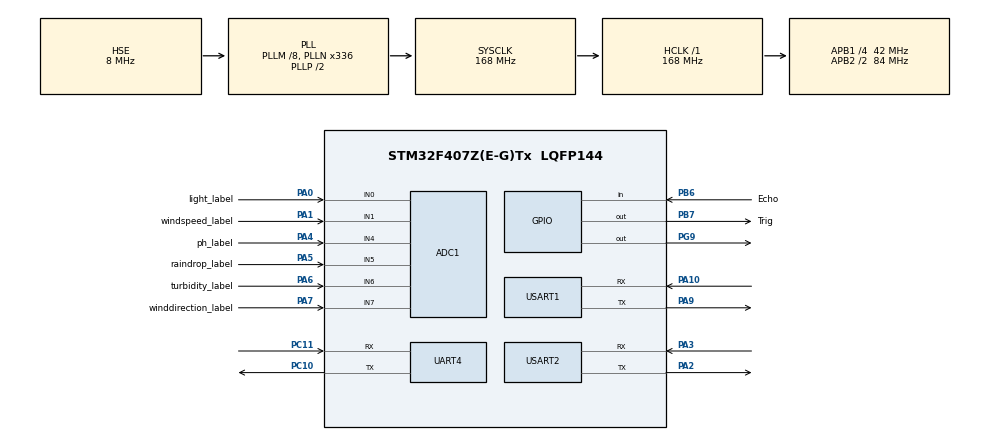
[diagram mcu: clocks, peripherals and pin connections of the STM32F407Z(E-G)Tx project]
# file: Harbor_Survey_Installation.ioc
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ADC1.Channel-0\#ChannelRegularConversion=ADC_CHANNEL_0
ADC1.Channel-1\#ChannelRegularConversion=ADC_CHANNEL_1
ADC1.Channel-2\#ChannelRegularConversion=ADC_CHANNEL_7
ADC1.Channel-3\#ChannelRegularConversion=ADC_CHANNEL_6
ADC1.Channel-4\#ChannelRegularConversion=ADC_CHANNEL_4
ADC1.Channel-5\#ChannelRegularConversion=ADC_CHANNEL_5
ADC1.ContinuousConvMode=ENABLE
ADC1.DMAContinuousRequests=ENABLE
ADC1.EOCSelection=ADC_EOC_SEQ_CONV
ADC1.NbrOfConversion=6
ADC1.NbrOfConversionFlag=1
ADC1.Rank-0\#ChannelRegularConversion=1
ADC1.Rank-1\#ChannelRegularConversion=2
ADC1.Rank-2\#ChannelRegularConversion=3
ADC1.Rank-3\#ChannelRegularConversion=4
ADC1.Rank-4\#ChannelRegularConversion=5
ADC1.Rank-5\#ChannelRegularConversion=6
ADC1.SamplingTime-0\#ChannelRegularConversion=ADC_SAMPLETIME_3CYCLES
ADC1.SamplingTime-1\#ChannelRegularConversion=ADC_SAMPLETIME_3CYCLES
ADC1.SamplingTime-2\#ChannelRegularConversion=ADC_SAMPLETIME_3CYCLES
ADC1.SamplingTime-3\#ChannelRegularConversion=ADC_SAMPLETIME_3CYCLES
ADC1.SamplingTime-4\#ChannelRegularConversion=ADC_SAMPLETIME_3CYCLES
ADC1.SamplingTime-5\#ChannelRegularConversion=ADC_SAMPLETIME_3CYCLES
ADC1.ScanConvMode=ENABLE
ADC1.master=1
Dma.ADC1.0.Direction=DMA_PERIPH_TO_MEMORY
Dma.ADC1.0.FIFOMode=DMA_FIFOMODE_DISABLE
Dma.ADC1.0.Instance=DMA2_Stream0
Dma.ADC1.0.MemDataAlignment=DMA_MDATAALIGN_HALFWORD
Dma.ADC1.0.MemInc=DMA_MINC_ENABLE
Dma.ADC1.0.Mode=DMA_CIRCULAR
Dma.ADC1.0.PeriphDataAlignment=DMA_PDATAALIGN_HALFWORD
Dma.ADC1.0.PeriphInc=DMA_PINC_DISABLE
Dma.ADC1.0.Priority=DMA_PRIORITY_LOW
Dma.Request0=ADC1
Dma.Request1=UART4_RX
Dma.Request2=USART2_RX
Dma.UART4_RX.1.Direction=DMA_PERIPH_TO_MEMORY
Dma.UART4_RX.1.FIFOMode=DMA_FIFOMODE_DISABLE
Dma.UART4_RX.1.Instance=DMA1_Stream2
Dma.UART4_RX.1.MemDataAlignment=DMA_MDATAALIGN_BYTE
Dma.UART4_RX.1.MemInc=DMA_MINC_ENABLE
Dma.UART4_RX.1.Mode=DMA_CIRCULAR
Dma.UART4_RX.1.PeriphDataAlignment=DMA_PDATAALIGN_BYTE
Dma.UART4_RX.1.PeriphInc=DMA_PINC_DISABLE
Dma.UART4_RX.1.Priority=DMA_PRIORITY_LOW
Dma.USART2_RX.2.Direction=DMA_PERIPH_TO_MEMORY
Dma.USART2_RX.2.FIFOMode=DMA_FIFOMODE_DISABLE
Dma.USART2_RX.2.Instance=DMA1_Stream5
Dma.USART2_RX.2.MemDataAlignment=DMA_MDATAALIGN_BYTE
Dma.USART2_RX.2.MemInc=DMA_MINC_ENABLE
Dma.USART2_RX.2.Mode=DMA_CIRCULAR
Dma.USART2_RX.2.PeriphDataAlignment=DMA_PDATAALIGN_BYTE
Dma.USART2_RX.2.PeriphInc=DMA_PINC_DISABLE
Dma.USART2_RX.2.Priority=DMA_PRIORITY_LOW
Mcu.Family=STM32F4
Mcu.Name=STM32F407Z(E-G)Tx
Mcu.Package=LQFP144
NVIC.DMA1_Stream2_IRQn=true\:0\:0\:false\:false\:true\:false\:true\:true
NVIC.DMA1_Stream5_IRQn=true\:0\:0\:false\:false\:true\:false\:true\:true
NVIC.DMA2_Stream0_IRQn=true\:3\:0\:true\:false\:true\:false\:true\:true
NVIC.PriorityGroup=NVIC_PRIORITYGROUP_2
NVIC.USART2_IRQn=true\:0\:0\:true\:true\:true\:1\:true\:true\:true
PA0-WKUP.GPIO_Label=light_label
PA0-WKUP.Signal=ADCx_IN0
PA1.GPIO_Label=windspeed_label
PA1.Signal=ADCx_IN1
PA10.Mode=Asynchronous
PA10.Signal=USART1_RX
PA13.Mode=Serial_Wire
PA13.Signal=SYS_JTMS-SWDIO
PA14.Mode=Serial_Wire
PA14.Signal=SYS_JTCK-SWCLK
PA2.GPIO_Speed=GPIO_SPEED_FREQ_HIGH
PA2.Mode=Asynchronous
PA2.Signal=USART2_TX
PA3.GPIO_PuPd=GPIO_PULLUP
PA3.GPIO_Speed=GPIO_SPEED_FREQ_HIGH
PA3.Mode=Asynchronous
PA3.Signal=USART2_RX
PA4.GPIO_Label=ph_label
PA4.Signal=ADCx_IN4
PA5.GPIO_Label=raindrop_label
PA5.Signal=ADCx_IN5
PA6.GPIO_Label=turbidity_label
PA6.Signal=ADCx_IN6
PA7.GPIO_Label=winddirection_label
PA7.Signal=ADCx_IN7
PA9.Mode=Asynchronous
PA9.Signal=USART1_TX
PB6.GPIO_Label=Echo
PB6.Signal=GPIO_Input
PB7.GPIO_Label=Trig
PB7.GPIO_PuPd=GPIO_PULLDOWN
PB7.GPIO_Speed=GPIO_SPEED_FREQ_HIGH
PB7.Signal=GPIO_Output
PC10.Mode=Asynchronous
PC10.Signal=UART4_TX
PC11.Mode=Asynchronous
PC11.Signal=UART4_RX
PG9.Signal=GPIO_Output
PH0-OSC_IN.Mode=HSE-External-Oscillator
PH0-OSC_IN.Signal=RCC_OSC_IN
PH1-OSC_OUT.Mode=HSE-External-Oscillator
PH1-OSC_OUT.Signal=RCC_OSC_OUT
ProjectManager.HeapSize=0xC00
ProjectManager.StackSize=0x400
ProjectManager.TargetToolchain=MDK-ARM V5
RCC.48MHZClocksFreq_Value=84000000
RCC.AHBFreq_Value=168000000
RCC.APB1CLKDivider=RCC_HCLK_DIV4
RCC.APB1Freq_Value=42000000
RCC.APB1TimFreq_Value=84000000
RCC.APB2CLKDivider=RCC_HCLK_DIV2
RCC.APB2Freq_Value=84000000
RCC.APB2TimFreq_Value=168000000
RCC.CortexFreq_Value=168000000
RCC.HCLKFreq_Value=168000000
RCC.HSE_VALUE=8000000
RCC.HSI_VALUE=16000000
RCC.PLLM=8
RCC.PLLN=336
RCC.PLLSourceVirtual=RCC_PLLSOURCE_HSE
RCC.SYSCLKFreq_VALUE=168000000
RCC.SYSCLKSource=RCC_SYSCLKSOURCE_PLLCLK
RCC.VCOOutputFreq_Value=336000000
SH.ADCx_IN0.0=ADC1_IN0,IN0
SH.ADCx_IN1.0=ADC1_IN1,IN1
SH.ADCx_IN4.0=ADC1_IN4,IN4
SH.ADCx_IN5.0=ADC1_IN5,IN5
SH.ADCx_IN6.0=ADC1_IN6,IN6
SH.ADCx_IN7.0=ADC1_IN7,IN7
TIM6.AutoReloadPreload=TIM_AUTORELOAD_PRELOAD_ENABLE
TIM6.Prescaler=83
UART4.VirtualMode=Asynchronous
USART1.VirtualMode=VM_ASYNC
USART2.VirtualMode=VM_ASYNC
VP_TIM6_VS_ClockSourceINT.Mode=Enable_Timer
board=custom

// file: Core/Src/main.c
/* USER CODE BEGIN Header */
/**
  ******************************************************************************
  * @file           : main.c
  * @brief          : Main program body
  ******************************************************************************
  * @attention
  *
  * Copyright (c) 2023 STMicroelectronics.
  * All rights reserved.
  *
  * This software is licensed under terms that can be found in the LICENSE file
  * in the root directory of this software component.
  * If no LICENSE file comes with this software, it is provided AS-IS.
  *
  ******************************************************************************
  */
/* USER CODE END Header */
#include "main.h"
#include "adc.h"
#include "dma.h"
#include "tim.h"
#include "usart.h"
#include "gpio.h"

/* USER CODE BEGIN Includes */
#include "dht11.h"
#include "string.h"
#include "stdio.h"
#include "sys.h"
#include "delay.h"
#include "jy61p.h"
#include "ec20.h"
/* USER CODE END Includes */

/* USER CODE BEGIN PTD */
 uint8_t temperature;  // 温度
 uint8_t humidity;   // 湿度
 uint16_t Adc_buffer[6]; // ADC采集数据缓存
/*
    数组数据
    Adc_buffer[0]  --  XXX传感器
    Adc_buffer[1]  --  风速传感器
    Adc_buffer[2]  --  风向传感器
    Adc_buffer[3]  --  浊度传感器
    Adc_buffer[4]  --  ph传感器
    Adc_buffer[5]  --  雨滴传感器
*/

// 姿态校准命令
char YAWCMD1[3] = {0XFF,0XAA,0X52};
char ACCCMD1[3] = {0XFF,0XAA,0X67};
extern AttitudeSensor_TypeDef JY61;
/* USER CODE END PTD */

/* USER CODE BEGIN PM */

float wind_direction_check(float winddirection);  // 风向检测
void ADC_Process_Function(void);  // ADC数据处理函数
float turbidity_check(float turbidity);  // 浊度检测
float PH_check(float PH);  // PH值检测
float raindrop_check(float raindrop);  // 降雨强度检测
void JY61P_Output(void);  // JY61P数据输出
void HCSR04_Detect(void);
uint8_t data_len,datastr[10],send_jason[200];
/* USER CODE END PM */

void SystemClock_Config(void);
static void MX_NVIC_Init(void);

int main(void)
{

  /* MCU Configuration--------------------------------------------------------*/

  /* Reset of all peripherals, Initializes the Flash interface and the Systick. */
  HAL_Init();

  /* Configure the system clock */
  SystemClock_Config();

  /* Initialize all configured peripherals */
  MX_GPIO_Init();
  MX_DMA_Init();
  MX_ADC1_Init();
  MX_UART4_Init();
  MX_USART1_UART_Init();
  MX_USART2_UART_Init();
  MX_TIM6_Init();

  /* Initialize interrupts */
  MX_NVIC_Init();
  /* USER CODE BEGIN 2 */
    delay_init(168);  // 初始化延时函数
    // while(dht11_init())  // 初始化DHT11
    // {
    //     printf("DHT11 init failed!\r\n");
    //     HAL_Delay(1000);
    // }
    sendcmd(ACCCMD1);				// 等待JY61初始化完成
    delay_ms(300);
    sendcmd(YAWCMD1);
    delay_ms(300);
    HAL_ADC_Start_DMA(&hadc1,(uint32_t *)Adc_buffer,6);                 // 启动ADC DMA传输
    HAL_UART_Receive_IT(&huart1, (uint8_t *)&USART1_SingleByte, 1);     // 串口1中断接收
    __HAL_UART_ENABLE_IT(&huart2, UART_IT_IDLE);                        // 串口2使能空闲中断
    HAL_UART_Receive_DMA(&huart2, USART2_RX_BUF, USART2_MAX_RECV_LEN);  // 串口2中断接收  DMA
    HAL_UART_Receive_DMA(&huart4, (uint8_t *)UART4_RX_BUF, 33);         // 串口4中断接收  DMA
    while(EC20_init_check(0) != 0x0F);  // EC20初始化检测

  /* USER CODE END 2 */

  /* Infinite loop */
  /* USER CODE BEGIN WHILE */
    while (1)
    {
        dht11_read_data(&temperature, &humidity);                                 // 读取温湿度
        printf1("temperature: %d, humidity: %d\r\n", temperature, humidity);    // 打印温湿度
        ADC_Process_Function();   // ADC数据处理函数
        JY61P_Output();     // JY61P输出
        HCSR04_Detect();    // 超声波检测
        GPS_Analysis();     // GPS数据解析
        Mqtt_Senddata();    // MQTT发送数据                                                                                                                          // 串口3中断接收
        HAL_UART_RxCpltCallback(&huart4);
        HAL_Delay(1000);          // 延时1s
    /* USER CODE END WHILE */

  }
}

void SystemClock_Config(void)
{
  RCC_OscInitTypeDef RCC_OscInitStruct = {0};
  RCC_ClkInitTypeDef RCC_ClkInitStruct = {0};

  /** Configure the main internal regulator output voltage
  */
  __HAL_RCC_PWR_CLK_ENABLE();
  __HAL_PWR_VOLTAGESCALING_CONFIG(PWR_REGULATOR_VOLTAGE_SCALE1);

  /** Initializes the RCC Oscillators according to the specified parameters
  * in the RCC_OscInitTypeDef structure.
  */
  RCC_OscInitStruct.OscillatorType = RCC_OSCILLATORTYPE_HSE;
  RCC_OscInitStruct.HSEState = RCC_HSE_ON;
  RCC_OscInitStruct.PLL.PLLState = RCC_PLL_ON;
  RCC_OscInitStruct.PLL.PLLSource = RCC_PLLSOURCE_HSE;
  RCC_OscInitStruct.PLL.PLLM = 8;
  RCC_OscInitStruct.PLL.PLLN = 336;
  RCC_OscInitStruct.PLL.PLLP = RCC_PLLP_DIV2;
  RCC_OscInitStruct.PLL.PLLQ = 4;
  if (HAL_RCC_OscConfig(&RCC_OscInitStruct) != HAL_OK)
  {
    Error_Handler();
  }

  /** Initializes the CPU, AHB and APB buses clocks
  */
  RCC_ClkInitStruct.ClockType = RCC_CLOCKTYPE_HCLK|RCC_CLOCKTYPE_SYSCLK
                              |RCC_CLOCKTYPE_PCLK1|RCC_CLOCKTYPE_PCLK2;
  RCC_ClkInitStruct.SYSCLKSource = RCC_SYSCLKSOURCE_PLLCLK;
  RCC_ClkInitStruct.AHBCLKDivider = RCC_SYSCLK_DIV1;
  RCC_ClkInitStruct.APB1CLKDivider = RCC_HCLK_DIV4;
  RCC_ClkInitStruct.APB2CLKDivider = RCC_HCLK_DIV2;

  if (HAL_RCC_ClockConfig(&RCC_ClkInitStruct, FLASH_LATENCY_5) != HAL_OK)
  {
    Error_Handler();
  }
}

/**
  * @brief NVIC Configuration.
  * @retval None
  */
static void MX_NVIC_Init(void)
{
  /* USART2_IRQn interrupt configuration */
  HAL_NVIC_SetPriority(USART2_IRQn, 0, 0);
  HAL_NVIC_EnableIRQ(USART2_IRQn);
}

/* USER CODE BEGIN 4 */

void HCSR04_Detect(void)  //超声波检测
{
    distance = HCSR04_measure();  //测量距离
    printf1("Distance = %dMM\r\n",distance);   //打印距离
}

void JY61P_Output(void)
{
    static uint8_t updata = 0;
    // char str[40];
    updata++;
    if(updata>151)          // 自动校准时间 = 150 * 发送周期
    {	                    // 等待模块内部自动校准好，模块内部会自动计算需要一定的时间
        updata = 0;
        printf1("正在进行加速度校准\r\n");
        sendcmd(ACCCMD1);
        printf1("加速度校准完成\r\n");
        delay_ms(300);
        printf1("进行Z轴角度清零\r\n");
        sendcmd(YAWCMD1);
        printf1("Z轴角度清零完成\r\n");
        delay_ms(300);
    }
    printf1("-JY61P:");
    printf1("Pitch = %.3f 	",JY61.pitch);
    printf1("Roll = %.3f 	",JY61.roll);
    printf1("Yaw = %.3f 	\r\n",JY61.yaw);
}

/**
  * @brief  ADC数据处理函数
  * @param  None
  * @retval None
  */
void ADC_Process_Function(void)
{
    static float temp = 0;
    printf1("XX传感器: %d\r\n", Adc_buffer[0]);

    printf1("风速传感器: %d     ", Adc_buffer[1]);
    temp = (3.3f * (float)Adc_buffer[1] / 4095.0f) * 1000.0f;  // 电压值
    windspeed = 0.027f * temp;  // 风速值
    printf1("风速值: %f\r\n", windspeed);

    /* 风向传感器 */
    printf1("风向传感器: %d     ", Adc_buffer[2]);
    temp = Adc_buffer[2] * 360 / 2482;  // 角度值
    winddirection = wind_direction_check(temp);  // 风向值
    printf1("风向值: %f\r\n", winddirection);

    /* 浊度传感器 */
    printf1("浊度传感器: %d     ", Adc_buffer[3]);
    temp = (float)Adc_buffer[3] * 3.3f / 4095.0f;  // 电压值
    temp = temp * 100 / 3.3f;  // 浊度值
    turbidity = turbidity_check(temp);  // 浊度值
    printf1("浊度值: %f\r\n", turbidity);

    /* PH传感器 */
    printf1("PH传感器: %d     ", Adc_buffer[4]);
    temp = (float)Adc_buffer[4] * 3.3f / 4095.0f;  // 电压值
    temp = -5.887 * temp + 21.258;  // PH值
    ph = PH_check(temp);  // PH值
    printf1("PH值: %f\r\n", ph);

    /* 雨滴传感器 */
    printf1("雨滴传感器: %d     ", Adc_buffer[5]);
    temp = (float)Adc_buffer[5] * 3.3f / 4095.0f;  // 电压值
    raindrop = raindrop_check(temp);  // 雨滴等级
    printf1("雨滴等级: %f\r\n", raindrop);

}

float wind_direction_check(float winddirection)  // 风向阈值检查
{
    if(winddirection > 360)
    {
        winddirection = 360;
    }

    return winddirection;
}

float turbidity_check(float turbidity)  // 浊度阈值检查
{
    if(turbidity > 100)
    {
        turbidity = 100;
    }

    return turbidity;
}

float PH_check(float PH)  // PH阈值检查
{
    if(PH > 14)
    {
        PH = 14;
    }
    else if(PH < 0)
    {
        PH = 0;
    }

    return PH;
}

float raindrop_check(float rain)  // 雨滴等级判断
{
    if(rain < 0.0f)
    {
        rain = 0.0f;
    }
    else if(rain < 1.1f)
    {
        rain = 1.0f;
    }
    else if(rain < 2.2f)
    {
        rain = 2.0f;
    }
    else
    {
        rain = 3.0f;
    }

    return rain;
}

// void printf1(char *data)
// {
//     HAL_UART_Transmit(&huart1, (const uint8_t *)data, sizeof(data), 0xffff);
// }

/* USER CODE END 4 */

void Error_Handler(void)
{
  __disable_irq();
  while (1)
  {
  }
}
